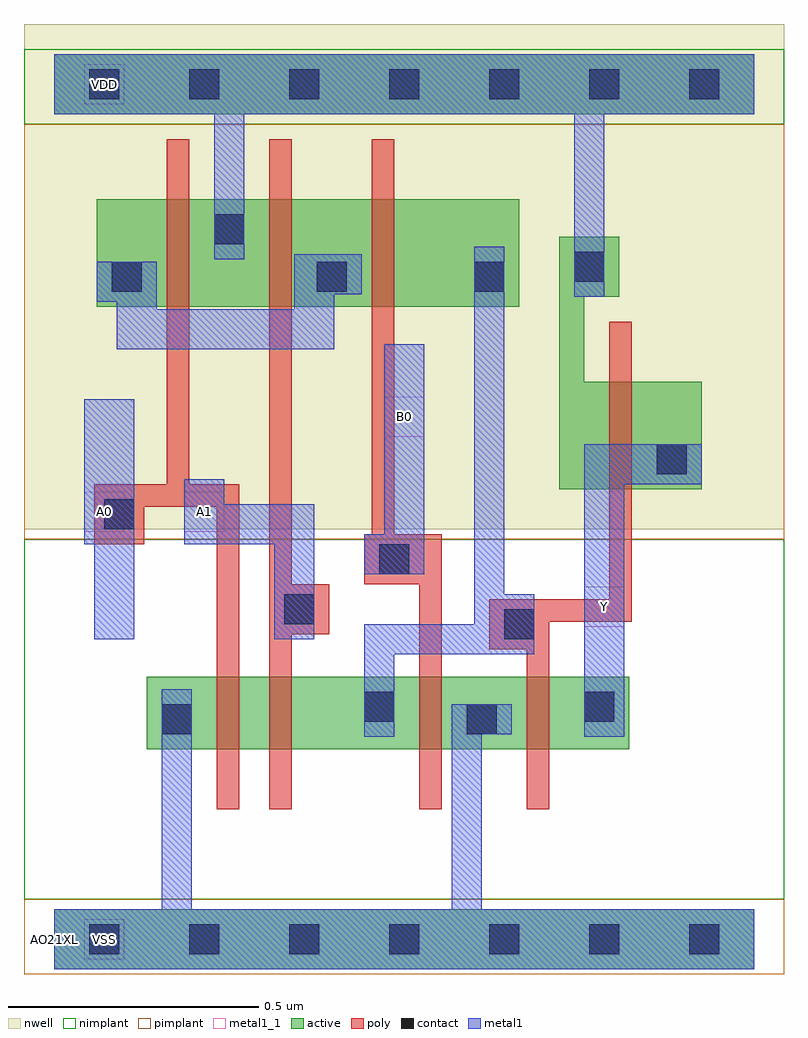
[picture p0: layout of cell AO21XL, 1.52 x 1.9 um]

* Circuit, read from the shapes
.subckt AO21XL A0 A1 B0 VDD VSS Y
M1 n1 A0 VSS VSS nfet w=0.145u l=0.045u
M2 n2 A1 n1 VSS nfet w=0.145u l=0.045u
M3 VSS B0 n2 VSS nfet w=0.145u l=0.045u
M4 Y n2 VSS VSS nfet w=0.145u l=0.045u
M5 VDD A0 n3 VDD pfet w=0.215u l=0.045u
M6 n3 A1 VDD VDD pfet w=0.215u l=0.045u
M7 n2 B0 n3 VDD pfet w=0.215u l=0.045u
M8 Y n2 VDD VDD pfet w=0.215u l=0.045u
.ends

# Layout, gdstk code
import gdstk
lib = gdstk.Library(unit=1e-6, precision=5e-10)
def R(c, l, rs):  # rectangles x0, y0, x1, y1
    for r in rs: c.add(gdstk.rectangle(r[:2], r[2:], *l))
def A(c, l, x, y, w, h, nx, ny, dx, dy):  # array of equal rectangles
    R(c, l, [(x+i*dx, y+j*dy, x+i*dx+w, y+j*dy+h) for i in range(nx) for j in range(ny)])
def P(c, l, *ps):  # polygons
    for p in ps: c.add(gdstk.Polygon(p, *l))
active = (1, 0)
nwell = (2, 0)
poly = (3, 0)
nimplant = (4, 0)
pimplant = (5, 0)
contact = (6, 0)
metal1 = (7, 0)
metal1_1 = (7, 1)

ao21xl = lib.new_cell('AO21XL')
R(ao21xl, active, [(0,-0.06,1.4,0.06), (0.185,0.38,1.15,0.525), (0.085,1.265,0.93,1.48), (0,1.65,1.4,1.77)])
P(ao21xl, active, [(1.01,1.405),(1.13,1.405),(1.13,1.285),(1.06,1.285),(1.06,1.115),(1.295,1.115),(1.295,0.9),(1.01,0.9)])
R(ao21xl, nwell, [(-0.06,0.82,1.46,1.83)])
P(ao21xl, poly, [(0.225,1.6),(0.27,1.6),(0.27,0.91),(0.37,0.91),(0.37,0.26),(0.325,0.26),(0.325,0.865),(0.18,0.865),(0.18,0.79),(0.08,0.79),(0.08,0.91),(0.225,0.91)],
  [(0.43,1.6),(0.475,1.6),(0.475,0.71),(0.55,0.71),(0.55,0.61),(0.475,0.61),(0.475,0.26),(0.43,0.26)],
  [(0.635,1.6),(0.68,1.6),(0.68,0.81),(0.775,0.81),(0.775,0.26),(0.73,0.26),(0.73,0.71),(0.62,0.71),(0.62,0.81),(0.635,0.81)],
  [(1.11,1.235),(1.155,1.235),(1.155,0.635),(0.99,0.635),(0.99,0.26),(0.945,0.26),(0.945,0.58),(0.87,0.58),(0.87,0.68),(1.11,0.68)])
R(ao21xl, nimplant, [(-0.06,0.08,1.46,0.8), (-0.06,1.63,1.46,1.78)])
R(ao21xl, pimplant, [(-0.06,-0.07,1.46,0.08), (-0.06,0.8,1.46,1.63)])
A(ao21xl, contact, 0.07, -0.03, 0.06, 0.06, 7, 2, 0.2, 1.71)
R(ao21xl, contact, [(0.215,0.41,0.275,0.47), (0.825,0.41,0.885,0.47), (0.62,0.435,0.68,0.495), (1.06,0.435,1.12,0.495), (0.9,0.6,0.96,0.66), (0.46,0.63,0.52,0.69), (0.65,0.73,0.71,0.79), (0.1,0.82,0.16,0.88), (1.205,0.93,1.265,0.99), (0.115,1.295,0.175,1.355), (0.525,1.295,0.585,1.355), (0.84,1.295,0.9,1.355), (1.04,1.315,1.1,1.375), (0.32,1.39,0.38,1.45)])
P(ao21xl, metal1, [(0,1.77),(1.4,1.77),(1.4,1.65),(1.1,1.65),(1.1,1.285),(1.04,1.285),(1.04,1.65),(0.38,1.65),(0.38,1.36),(0.32,1.36),(0.32,1.65),(0,1.65)],
  [(0.84,1.385),(0.9,1.385),(0.9,0.69),(0.96,0.69),(0.96,0.57),(0.68,0.57),(0.68,0.405),(0.62,0.405),(0.62,0.63),(0.84,0.63)],
  [(0.085,1.355),(0.205,1.355),(0.205,1.26),(0.48,1.26),(0.48,1.37),(0.615,1.37),(0.615,1.29),(0.56,1.29),(0.56,1.18),(0.125,1.18),(0.125,1.275),(0.085,1.275)],
  [(0.66,1.19),(0.74,1.19),(0.74,0.73),(0.62,0.73),(0.62,0.81),(0.66,0.81)],
  [(0.06,1.08),(0.16,1.08),(0.16,0.6),(0.08,0.6),(0.08,0.79),(0.06,0.79)],
  [(0.26,0.92),(0.34,0.92),(0.34,0.87),(0.52,0.87),(0.52,0.6),(0.44,0.6),(0.44,0.79),(0.26,0.79)],
  [(1.06,0.99),(1.295,0.99),(1.295,0.91),(1.14,0.91),(1.14,0.405),(1.06,0.405)],
  [(0.215,0.5),(0.275,0.5),(0.275,0.06),(0.795,0.06),(0.795,0.47),(0.915,0.47),(0.915,0.41),(0.855,0.41),(0.855,0.06),(1.4,0.06),(1.4,-0.06),(0,-0.06),(0,0.06),(0.215,0.06)])
A(ao21xl, metal1_1, 0.06, -0.04, 0.08, 0.08, 1, 3, 0, 0.855)
R(ao21xl, metal1_1, [(1.06,0.625,1.14,0.705), (0.26,0.815,0.34,0.895), (0.66,1.005,0.74,1.085)])
ao21xl.add(gdstk.Label('Y', (1.1,0.665), layer=7, texttype=1))
ao21xl.add(gdstk.Label('A0', (0.1,0.855), layer=7, texttype=1))
ao21xl.add(gdstk.Label('A1', (0.3,0.855), layer=7, texttype=1))
ao21xl.add(gdstk.Label('B0', (0.7,1.045), layer=7, texttype=1))
ao21xl.add(gdstk.Label('VDD', (0.1,1.71), layer=7, texttype=1))
ao21xl.add(gdstk.Label('VSS', (0.1,0), layer=7, texttype=1))
ao21xl.add(gdstk.Label('AO21XL', (0,0), layer=63, texttype=0))

lib.write_gds('AO21XL.gds')
